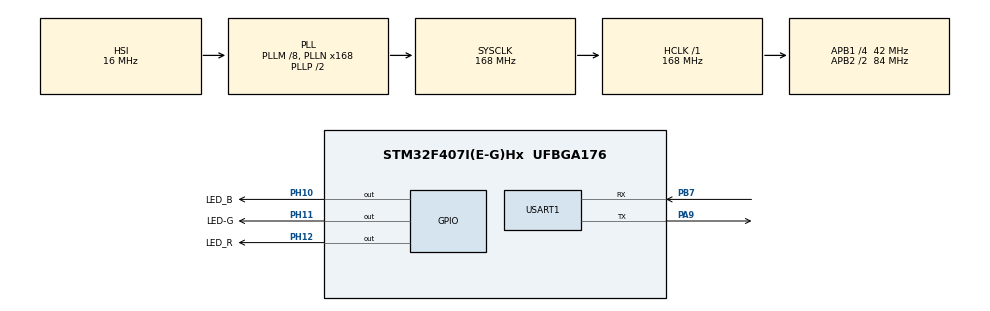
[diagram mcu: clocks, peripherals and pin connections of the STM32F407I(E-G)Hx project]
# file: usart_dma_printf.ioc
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Dma.Request0=USART1_TX
Dma.USART1_TX.0.Direction=DMA_MEMORY_TO_PERIPH
Dma.USART1_TX.0.FIFOMode=DMA_FIFOMODE_DISABLE
Dma.USART1_TX.0.Instance=DMA2_Stream7
Dma.USART1_TX.0.MemDataAlignment=DMA_MDATAALIGN_BYTE
Dma.USART1_TX.0.MemInc=DMA_MINC_ENABLE
Dma.USART1_TX.0.Mode=DMA_NORMAL
Dma.USART1_TX.0.PeriphDataAlignment=DMA_PDATAALIGN_BYTE
Dma.USART1_TX.0.PeriphInc=DMA_PINC_DISABLE
Dma.USART1_TX.0.Priority=DMA_PRIORITY_VERY_HIGH
Mcu.Family=STM32F4
Mcu.Name=STM32F407I(E-G)Hx
Mcu.Package=UFBGA176
NVIC.DMA2_Stream7_IRQn=true\:0\:0\:false\:false\:true\:false\:true\:true
NVIC.PriorityGroup=NVIC_PRIORITYGROUP_4
NVIC.USART1_IRQn=true\:0\:0\:false\:false\:true\:true\:true\:true
PA13.Mode=Serial_Wire
PA13.Signal=SYS_JTMS-SWDIO
PA14.Mode=Serial_Wire
PA14.Signal=SYS_JTCK-SWCLK
PA9.Mode=Asynchronous
PA9.Signal=USART1_TX
PB7.Mode=Asynchronous
PB7.Signal=USART1_RX
PH0-OSC_IN.Mode=HSE-External-Oscillator
PH0-OSC_IN.Signal=RCC_OSC_IN
PH1-OSC_OUT.Mode=HSE-External-Oscillator
PH1-OSC_OUT.Signal=RCC_OSC_OUT
PH10.GPIO_Label=LED_B
PH10.Signal=GPIO_Output
PH11.GPIO_Label=LED-G
PH11.Signal=GPIO_Output
PH12.GPIO_Label=LED_R
PH12.Signal=GPIO_Output
ProjectManager.HeapSize=0x200
ProjectManager.StackSize=0x400
ProjectManager.TargetToolchain=Makefile
RCC.48MHZClocksFreq_Value=84000000
RCC.AHBFreq_Value=168000000
RCC.APB1CLKDivider=RCC_HCLK_DIV4
RCC.APB1Freq_Value=42000000
RCC.APB1TimFreq_Value=84000000
RCC.APB2CLKDivider=RCC_HCLK_DIV2
RCC.APB2Freq_Value=84000000
RCC.APB2TimFreq_Value=168000000
RCC.CortexFreq_Value=168000000
RCC.HCLKFreq_Value=168000000
RCC.HSE_VALUE=12000000
RCC.HSI_VALUE=16000000
RCC.LSE_VALUE=32768
RCC.PLLM=8
RCC.PLLN=168
RCC.SYSCLKFreq_VALUE=168000000
RCC.SYSCLKSource=RCC_SYSCLKSOURCE_PLLCLK
RCC.VCOOutputFreq_Value=336000000
USART1.VirtualMode=VM_ASYNC
board=custom

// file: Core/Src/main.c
/* USER CODE BEGIN Header */
/**
  ******************************************************************************
  * @file           : main.c
  * @brief          : Main program body
  ******************************************************************************
  * @attention
  *
  * Copyright (c) 2024 STMicroelectronics.
  * All rights reserved.
  *
  * This software is licensed under terms that can be found in the LICENSE file
  * in the root directory of this software component.
  * If no LICENSE file comes with this software, it is provided AS-IS.
  *
  ******************************************************************************
  */
/* USER CODE END Header */
#include "main.h"
#include "dma.h"
#include "usart.h"
#include "gpio.h"

/* USER CODE BEGIN Includes */
#include <stdio.h>
#include <stdarg.h>
#include "string.h"
/* USER CODE END Includes */

/* USER CODE BEGIN PV */
uint8_t RxBuffer[100];
uint8_t len;
/* USER CODE END PV */

void SystemClock_Config(void);

/* USER CODE BEGIN 0 */
void usart_printf(const char *fmt,...)
{
  static uint8_t tx_buf[256] = {0};
  static va_list ap;
  static uint16_t len;
  va_start(ap, fmt);

  //return length of string
  //返回字符串长度
  len = vsprintf((char *)tx_buf, fmt, ap);

  va_end(ap);

  HAL_UART_Transmit_DMA(&huart1,tx_buf, len);

}
/* USER CODE END 0 */

int main(void)
{

  /* MCU Configuration--------------------------------------------------------*/

  /* Reset of all peripherals, Initializes the Flash interface and the Systick. */
  HAL_Init();

  /* Configure the system clock */
  SystemClock_Config();

  /* Initialize all configured peripherals */
  MX_GPIO_Init();
  MX_DMA_Init();
  MX_USART1_UART_Init();
  /* USER CODE BEGIN 2 */
  //enable receive interrupt and idle interrupt
  //使能接收中断和空闲中断
  __HAL_UART_ENABLE_IT(&huart1, UART_IT_RXNE);  //receive interrupt
  __HAL_UART_ENABLE_IT(&huart1, UART_IT_IDLE);  //idle interrupt
  /* USER CODE END 2 */

  /* Infinite loop */
  /* USER CODE BEGIN WHILE */
  while (1)
  {
    HAL_GPIO_WritePin(LED_R_GPIO_Port, LED_R_Pin, GPIO_PIN_SET);
    HAL_GPIO_WritePin(LED_G_GPIO_Port, LED_G_Pin, GPIO_PIN_SET);
    HAL_GPIO_WritePin(LED_B_GPIO_Port, LED_B_Pin, GPIO_PIN_SET);
    HAL_Delay(500);
    HAL_GPIO_WritePin(LED_R_GPIO_Port, LED_R_Pin, GPIO_PIN_RESET);
    HAL_GPIO_WritePin(LED_G_GPIO_Port, LED_G_Pin, GPIO_PIN_RESET);
    HAL_GPIO_WritePin(LED_B_GPIO_Port, LED_B_Pin, GPIO_PIN_RESET);
    HAL_Delay(500);
    /* USER CODE END WHILE */

    /* USER CODE BEGIN 3 */
    usart_printf("%s\r\n","hello world!");
  }
  /* USER CODE END 3 */
}

void SystemClock_Config(void)
{
  RCC_OscInitTypeDef RCC_OscInitStruct = {0};
  RCC_ClkInitTypeDef RCC_ClkInitStruct = {0};

  /** Configure the main internal regulator output voltage
  */
  __HAL_RCC_PWR_CLK_ENABLE();
  __HAL_PWR_VOLTAGESCALING_CONFIG(PWR_REGULATOR_VOLTAGE_SCALE1);

  /** Initializes the RCC Oscillators according to the specified parameters
  * in the RCC_OscInitTypeDef structure.
  */
  RCC_OscInitStruct.OscillatorType = RCC_OSCILLATORTYPE_HSI;
  RCC_OscInitStruct.HSIState = RCC_HSI_ON;
  RCC_OscInitStruct.HSICalibrationValue = RCC_HSICALIBRATION_DEFAULT;
  RCC_OscInitStruct.PLL.PLLState = RCC_PLL_ON;
  RCC_OscInitStruct.PLL.PLLSource = RCC_PLLSOURCE_HSI;
  RCC_OscInitStruct.PLL.PLLM = 8;
  RCC_OscInitStruct.PLL.PLLN = 168;
  RCC_OscInitStruct.PLL.PLLP = RCC_PLLP_DIV2;
  RCC_OscInitStruct.PLL.PLLQ = 4;
  if (HAL_RCC_OscConfig(&RCC_OscInitStruct) != HAL_OK)
  {
    Error_Handler();
  }

  /** Initializes the CPU, AHB and APB buses clocks
  */
  RCC_ClkInitStruct.ClockType = RCC_CLOCKTYPE_HCLK|RCC_CLOCKTYPE_SYSCLK
                              |RCC_CLOCKTYPE_PCLK1|RCC_CLOCKTYPE_PCLK2;
  RCC_ClkInitStruct.SYSCLKSource = RCC_SYSCLKSOURCE_PLLCLK;
  RCC_ClkInitStruct.AHBCLKDivider = RCC_SYSCLK_DIV1;
  RCC_ClkInitStruct.APB1CLKDivider = RCC_HCLK_DIV4;
  RCC_ClkInitStruct.APB2CLKDivider = RCC_HCLK_DIV2;

  if (HAL_RCC_ClockConfig(&RCC_ClkInitStruct, FLASH_LATENCY_5) != HAL_OK)
  {
    Error_Handler();
  }
}

void Error_Handler(void)
{
  __disable_irq();
  while (1)
  {
  }
}
